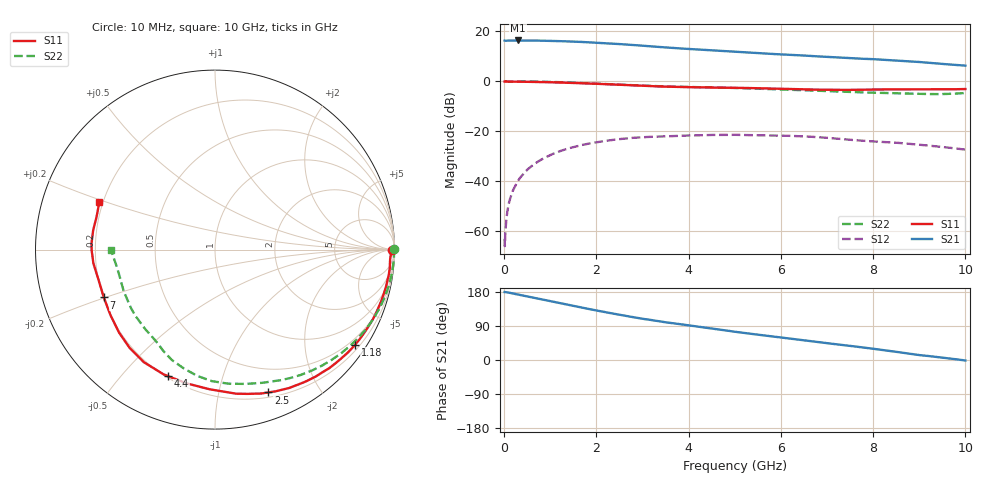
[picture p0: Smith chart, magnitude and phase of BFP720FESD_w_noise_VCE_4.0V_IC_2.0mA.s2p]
! Infineon Technologies  Discrete & RF Semiconductors
! BFP720FESD
! VCE =  4.0 V,  IC =  2.0 mA
! Common Emitter S-Parameters:  Jan 2016
# GHz  S  MA  R  50
!  f  S11  S21  S12  S22
! GHz  MAG  ANG  MAG  ANG  MAG  ANG  MAG  ANG
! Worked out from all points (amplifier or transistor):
!   233 points, 10 MHz to 10 GHz, reference 50 ohm
!   highest |S21| = 16.3 dB at 300 MHz (marker M1)
!   |S21| within 3 dB of that: start of sweep to 3.662 GHz
!   unconditionally stable (mu >= 1): 8.679 GHz to end of sweep
!   at 200 MHz: K = 0.04, MSG = 29.8 dB, |S12| = -43.3 dB
!   at 1.74 GHz: K = 0.11, MSG = 20.5 dB, |S12| = -25.3 dB
!   at 10 GHz: K = 1.59, MAG = 12.3 dB, |S12| = -27.4 dB
!   lowest NFmin = 0.41 dB at 450 MHz
!   S11 on the Smith chart (normalised r, x): 10 MHz: open; 1.18 GHz: 0.33, -3.22; 2.5 GHz: 0.25, -1.41; 4.4 GHz: 0.21, -0.68; 7 GHz: 0.20, -0.20; 10 GHz: 0.19, +0.19
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0.01  0.9844 0.0  6.495 179.4  0.0007 -17.9  0.9957 0.2
0.015  0.9837 -0.2  6.475 179.4  0.0005 26.5  0.9966 -0.1
0.03  0.9821 -0.9  6.454 179.2  0.0011 73.9  0.9977 -0.6
0.05  0.9804 -1.6  6.45 178.6  0.0018 76.1  0.9979 -1.0
0.105  0.9771 -3.1  6.502 177.7  0.0037 83.4  0.9982 -2.2
0.19  0.9789 -5.5  6.523 175.5  0.0065 83.6  0.9973 -4.1
0.3  0.9784 -8.7  6.535 172.8  0.0101 82.2  0.9958 -6.4
0.7  0.9657 -20.4  6.5 162.8  0.0235 74.7  0.9835 -14.9
1.18  0.9433 -34.2  6.343 150.7  0.0389 64.6  0.9578 -25.4
1.68  0.9101 -48.3  6.102 138.3  0.0527 53.7  0.9212 -36.2
2.2  0.8745 -61.9  5.749 126.1  0.064 43.3  0.8802 -47.1
2.5  0.8495 -69.5  5.535 119.5  0.0694 37.6  0.8555 -53.1
3  0.8113 -81.7  5.141 108.8  0.0759 28.4  0.8167 -62.8
3.4  0.7831 -90.0  4.81 101.5  0.0785 22.5  0.7921 -68.9
4.4  0.7519 -110.2  4.199 84.8  0.0835 9.8  0.7532 -82.8
5.1  0.7374 -124.0  3.83 73.1  0.0842 1.0  0.7277 -92.7
6  0.7066 -139.2  3.442 59.4  0.0818 -9.4  0.685 -104.6
6.8  0.6775 -153.2  3.138 47.4  0.0757 -18.1  0.6437 -114.7
7  0.6742 -156.7  3.066 44.2  0.0737 -20.3  0.6339 -117.0
8.4  0.6877 -180.0  2.633 23.2  0.0595 -26.5  0.577 -140.2
9  0.6873 170.8  2.423 13.0  0.0537 -29.4  0.559 -155.5
10  0.6972 157.5  2.049 -1.3  0.0428 -29.0  0.5801 180.0
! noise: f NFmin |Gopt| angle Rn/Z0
0.45  0.41  0.8  5  0.26
2.4  0.72  0.53  35  0.25
5.5  0.93  0.54  105  0.15
10  1.76  0.44  -167  0.09
